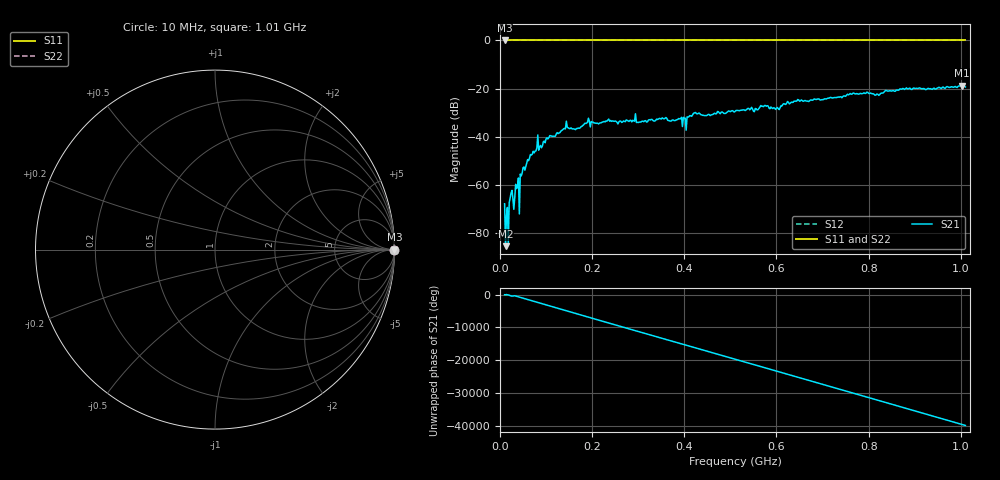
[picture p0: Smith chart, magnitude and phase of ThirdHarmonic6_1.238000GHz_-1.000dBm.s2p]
! 8/16/2025 1:08:05 PM
! C:\ANRITSUVNA\TEMP\TEMP.S2P
! CHANNEL.1
! TR.MEASUREMENT
! RAW.DATA
! RF.CORRECTION.OFF
! AVERAGING.OFF
! IF.BANDWIDTH: 5KHZ
! SWEEPTYPE:  FREQ.SWEEP(Linear)
! Reference Plane Port Info
! PORT:  PORT1  PORT2
! DISTANCE:  0  m  0  m
! TIME:  0  s  0  s
! PHASE.OFFSET:  0  deg.  0  deg.
! LOSS:  0  dB  0  dB
! REF.LOSS:  0  dB  0  dB
! REF.FREQ:  0  Hz  0  Hz
! Power Info
! POWER:  -20  dBm  -20  dBm
! EFF.POWER:  -20  dBm  -20  dBm
! SOURCE.ATTEN:  0  dB  0  dB
! TEST.ATTEN:  0  dB  0  dB
# GHZ S RI R 50.0
! FREQ.GHZ  S11RE  S11IM  S21RE  S21IM  S12RE  S12IM  S22RE  S22IM
!; PortSelection: Port_12
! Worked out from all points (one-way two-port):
!   501 points, 10 MHz to 1.01 GHz, reference 50 ohm
!   highest |S21| = -18.70 dB at 1.002 GHz (marker M1); lowest = -85.3 dB at 12 MHz (marker M2)
!   lowest |S11| = 0.0 dB at 10 MHz (marker M3)
!   |S11| at or under -10 dB: nowhere
!   |S22| runs from 0.0 to 0.0 dB; largest |S21 - S12| = 1.1
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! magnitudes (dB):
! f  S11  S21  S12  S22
! 10 MHz  0.0  -67.7  0.0  0.0
! 12 MHz  0.0  -85.3  0.0  0.0
! 16 MHz  0.0  -69.3  0.0  0.0
! 24 MHz  0.0  -63.4  0.0  0.0
! 32 MHz  0.0  -65.3  0.0  0.0
! 36 MHz  0.0  -61.4  0.0  0.0
! 38 MHz  0.0  -60.5  0.0  0.0
! 46 MHz  0.0  -56.2  0.0  0.0
! 48 MHz  0.0  -55.1  0.0  0.0
! 78 MHz  0.0  -45.8  0.0  0.0
! 142 MHz  0.0  -36.7  0.0  0.0
! 178 MHz  0.0  -35.6  0.0  0.0
! 190 MHz  0.0  -33.9  0.0  0.0
! 344 MHz  0.0  -32.5  0.0  0.0
! 400 MHz  0.0  -32.3  0.0  0.0
! 422 MHz  0.0  -30.0  0.0  0.0
! 510 MHz  0.0  -29.4  0.0  0.0
! 602 MHz  0.0  -27.8  0.0  0.0
! 678 MHz  0.0  -24.8  0.0  0.0
! 844 MHz  0.0  -21.0  0.0  0.0
! 1.002 GHz  0.0  -18.7  0.0  0.0
! 1.01 GHz  0.0  -19.3  0.0  0.0
